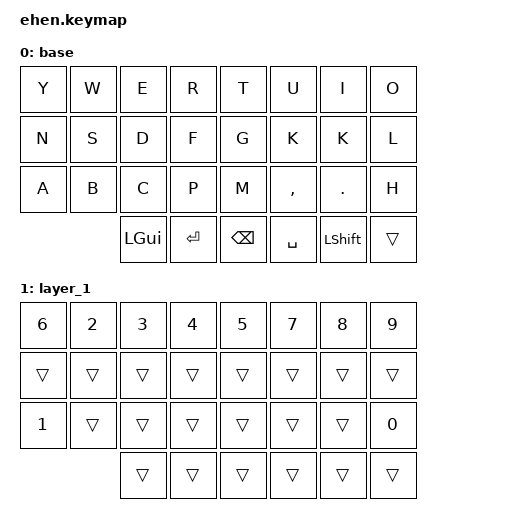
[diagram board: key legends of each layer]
#include <behaviors.dtsi>
#include <dt-bindings/zmk/keys.h>

/ {
    combos {
        compatible = "zmk,combos";

        q {
            bindings = <&kp Q>;
            key-positions = <16 1>;
            layers = <0>;
        };

        z {
            bindings = <&kp Z>;
            key-positions = <16 17>;
            layers = <0>;
        };

        x {
            bindings = <&kp X>;
            key-positions = <17 18>;
            layers = <0>;
        };
    };

    keymap {
        compatible = "zmk,keymap";

        base {
            bindings = <
&kp Y  &kp W  &kp E     &kp R    &kp T                &kp U      &kp I      &kp O
&kp N  &kp S  &kp D     &kp F    &kp G                &kp K      &kp K      &kp L
&kp A  &kp B  &kp C     &kp P                         &kp M      &kp COMMA  &kp DOT  &kp H
              &kp LGUI  &kp RET  &kp BSPC  &kp SPACE  &kp LSHFT  &trans
            >;
        };

        layer_1 {
            bindings = <
&kp N6  &kp N2  &kp N3  &kp N4  &kp N5          &kp N7  &kp N8  &kp N9
&trans  &trans  &trans  &trans  &trans          &trans  &trans  &trans
&kp N1  &trans  &trans  &trans                  &trans  &trans  &trans  &kp N0
                &trans  &trans  &trans  &trans  &trans  &trans
            >;
        };
    };
};
